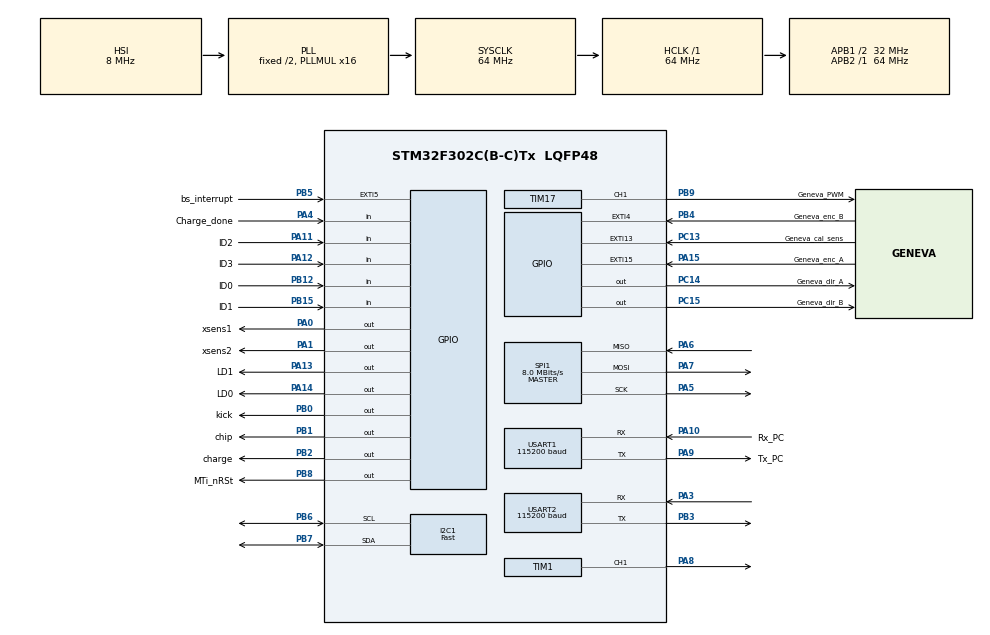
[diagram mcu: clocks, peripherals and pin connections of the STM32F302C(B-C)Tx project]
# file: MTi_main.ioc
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I2C1.I2C_Speed_Mode=I2C_Fast
Mcu.Family=STM32F3
Mcu.Name=STM32F302C(B-C)Tx
Mcu.Package=LQFP48
NVIC.I2C1_ER_IRQn=true\:0\:0\:false\:false\:true\:true
NVIC.I2C1_EV_IRQn=true\:0\:0\:false\:false\:true\:true
NVIC.PriorityGroup=NVIC_PRIORITYGROUP_4
NVIC.TIM6_DAC_IRQn=true\:0\:0\:false\:false\:true\:true
NVIC.USART1_IRQn=true\:0\:0\:false\:false\:true\:true
NVIC.USART2_IRQn=true\:0\:0\:false\:false\:true\:true
PA0.GPIO_Label=xsens1
PA0.Signal=GPIO_Output
PA1.GPIO_Label=xsens2
PA1.Signal=GPIO_Output
PA10.GPIO_Label=Rx_PC
PA10.Mode=Asynchronous
PA10.Signal=USART1_RX
PA11.GPIO_Label=ID2
PA11.Signal=GPIO_Input
PA12.GPIO_Label=ID3
PA12.Signal=GPIO_Input
PA13.GPIO_Label=LD1
PA13.Signal=GPIO_Output
PA14.GPIO_Label=LD0
PA14.Signal=GPIO_Output
PA15.GPIO_Label=Geneva_enc_A
PA15.Signal=GPXTI15
PA3.Mode=Asynchronous
PA3.Signal=USART2_RX
PA4.GPIO_Label=Charge_done
PA4.Signal=GPIO_Input
PA5.Mode=Full_Duplex_Master
PA5.Signal=SPI1_SCK
PA6.Mode=Full_Duplex_Master
PA6.Signal=SPI1_MISO
PA7.Mode=Full_Duplex_Master
PA7.Signal=SPI1_MOSI
PA8.Signal=S_TIM1_CH1
PA9.GPIO_Label=Tx_PC
PA9.Mode=Asynchronous
PA9.Signal=USART1_TX
PB0.GPIO_Label=kick
PB0.Signal=GPIO_Output
PB1.GPIO_Label=chip
PB1.Signal=GPIO_Output
PB12.GPIO_Label=ID0
PB12.Signal=GPIO_Input
PB15.GPIO_Label=ID1
PB15.Signal=GPIO_Input
PB2.GPIO_Label=charge
PB2.Signal=GPIO_Output
PB3.Mode=Asynchronous
PB3.Signal=USART2_TX
PB4.GPIO_Label=Geneva_enc_B
PB4.Signal=GPXTI4
PB5.GPIO_Label=bs_interrupt
PB5.Signal=GPXTI5
PB6.Mode=I2C
PB6.Signal=I2C1_SCL
PB7.Mode=I2C
PB7.Signal=I2C1_SDA
PB8.GPIO_Label=MTi_nRSt
PB8.GPIO_ModeDefaultOutputPP=GPIO_MODE_OUTPUT_OD
PB8.Signal=GPIO_Output
PB9.GPIO_Label=Geneva_PWM
PB9.Signal=S_TIM17_CH1
PC13.GPIO_Label=Geneva_cal_sens
PC13.Signal=GPXTI13
PC14-OSC32_IN.GPIO_Label=Geneva_dir_A
PC14-OSC32_IN.Signal=GPIO_Output
PC15-OSC32_OUT.GPIO_Label=Geneva_dir_B
PC15-OSC32_OUT.Signal=GPIO_Output
ProjectManager.HeapSize=0x200
ProjectManager.StackSize=0x400
ProjectManager.TargetToolchain=SW4STM32
RCC.AHBFreq_Value=64000000
RCC.APB1CLKDivider=RCC_HCLK_DIV2
RCC.APB1Freq_Value=32000000
RCC.APB1TimFreq_Value=64000000
RCC.APB2Freq_Value=64000000
RCC.APB2TimFreq_Value=64000000
RCC.CortexFreq_Value=64000000
RCC.FLatency=FLASH_LATENCY_2
RCC.HCLKFreq_Value=64000000
RCC.HSE_Timout=1000
RCC.HSE_VALUE=8000000
RCC.HSI_VALUE=8000000
RCC.LSE_VALUE=32768
RCC.PLLMUL=RCC_PLL_MUL16
RCC.SYSCLKFreq_VALUE=64000000
RCC.SYSCLKSourceVirtual=RCC_SYSCLKSOURCE_PLLCLK
RCC.USBFreq_Value=64000000
SH.S_TIM17_CH1.0=TIM17_CH1,PWM Generation1 CH1
SH.S_TIM1_CH1.0=TIM1_CH1,PWM Generation1 CH1
SPI1.BaudRatePrescaler=SPI_BAUDRATEPRESCALER_8
SPI1.CalculateBaudRate=8.0 MBits/s
SPI1.DataSize=SPI_DATASIZE_8BIT
SPI1.Direction=SPI_DIRECTION_2LINES
SPI1.Mode=SPI_MODE_MASTER
SPI1.VirtualType=VM_MASTER
TIM1.Channel-PWM\ Generation1\ CH1=TIM_CHANNEL_1
TIM1.Period=2400
TIM17.Channel=TIM_CHANNEL_1
TIM17.Period=2400
TIM6.Period=10000
TIM6.Prescaler=63
USART1.BaudRate=115200
USART1.SwapParam=ADVFEATURE_SWAP_ENABLE
USART1.VirtualMode-Asynchronous=VM_ASYNC
USART2.BaudRate=115200
USART2.SwapParam=ADVFEATURE_SWAP_ENABLE
USART2.VirtualMode-Asynchronous=VM_ASYNC
VP_TIM17_VS_ClockSourceINT.Mode=Enable_Timer
VP_TIM6_VS_ClockSourceINT.Mode=Enable_Timer
board=MTi_main

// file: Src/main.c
/**
  ******************************************************************************
  * @file           : main.c
  * @brief          : Main program body
  ******************************************************************************
  ** This notice applies to any and all portions of this file
  * that are not between comment pairs USER CODE BEGIN and
  * USER CODE END. Other portions of this file, whether
  * inserted by the user or by software development tools
  * are owned by their respective copyright owners.
  *
  * COPYRIGHT(c) 2018 STMicroelectronics
  *
  * Redistribution and use in source and binary forms, with or without modification,
  * are permitted provided that the following conditions are met:
  *   1. Redistributions of source code must retain the above copyright notice,
  *      this list of conditions and the following disclaimer.
  *   2. Redistributions in binary form must reproduce the above copyright notice,
  *      this list of conditions and the following disclaimer in the documentation
  *      and/or other materials provided with the distribution.
  *   3. Neither the name of STMicroelectronics nor the names of its contributors
  *      may be used to endorse or promote products derived from this software
  *      without specific prior written permission.
  *
  * THIS SOFTWARE IS PROVIDED BY THE COPYRIGHT HOLDERS AND CONTRIBUTORS "AS IS"
  * AND ANY EXPRESS OR IMPLIED WARRANTIES, INCLUDING, BUT NOT LIMITED TO, THE
  * IMPLIED WARRANTIES OF MERCHANTABILITY AND FITNESS FOR A PARTICULAR PURPOSE ARE
  * DISCLAIMED. IN NO EVENT SHALL THE COPYRIGHT HOLDER OR CONTRIBUTORS BE LIABLE
  * FOR ANY DIRECT, INDIRECT, INCIDENTAL, SPECIAL, EXEMPLARY, OR CONSEQUENTIAL
  * DAMAGES (INCLUDING, BUT NOT LIMITED TO, PROCUREMENT OF SUBSTITUTE GOODS OR
  * SERVICES; LOSS OF USE, DATA, OR PROFITS; OR BUSINESS INTERRUPTION) HOWEVER
  * CAUSED AND ON ANY THEORY OF LIABILITY, WHETHER IN CONTRACT, STRICT LIABILITY,
  * OR TORT (INCLUDING NEGLIGENCE OR OTHERWISE) ARISING IN ANY WAY OUT OF THE USE
  * OF THIS SOFTWARE, EVEN IF ADVISED OF THE POSSIBILITY OF SUCH DAMAGE.
  *
  ******************************************************************************
  */
#include "main.h"
#include "stm32f3xx_hal.h"
#include "i2c.h"
#include "spi.h"
#include "tim.h"
#include "usart.h"
#include "gpio.h"

/* USER CODE BEGIN Includes */

#include "PuttyInterface/PuttyInterface.h"
#include "MTiControl.h"
#include <string.h>
#include <math.h>
/* USER CODE END Includes */

/* USER CODE BEGIN PV */
/* Private variables ---------------------------------------------------------*/
PuttyInterfaceTypeDef puttystruct;

#define DEBUG 					0
#define MAX_RAW_MESSAGE_SIZE 	2055

/* Buffer used for reception */

uint8_t stop_after_message_complete = 1;
uint8_t message_handled_flag = 0;
float speed_x, speed_y;
/* USER CODE END PV */

void SystemClock_Config(void);

/* USER CODE BEGIN PFP */
/* Private function prototypes -----------------------------------------------*/
void MTiPrintOutputConfig(struct XbusMessage const* message);
void MTiErrorHandler(struct XbusMessage const* message);
void printMessageData(struct XbusMessage const* message);
void PrintUsartStatus(HAL_StatusTypeDef status);
void HandleCommand(char * input);
void SendPossibleCommands();
void HandleMessage();
float calculateSpeed(float acc_x, float acc_y, float acc_z, int freq);
/* USER CODE END PFP */

int main(void)
{

  /* MCU Configuration----------------------------------------------------------*/

  /* Reset of all peripherals, Initializes the Flash interface and the Systick. */
  HAL_Init();

  /* Configure the system clock */
  SystemClock_Config();

  /* Initialize all configured peripherals */
  MX_GPIO_Init();
  MX_USART1_UART_Init();
  MX_TIM1_Init();
  MX_SPI1_Init();
  MX_USART2_UART_Init();
  MX_TIM17_Init();
  MX_TIM6_Init();
  MX_I2C1_Init();
  /* USER CODE BEGIN 2 */
	MTi_Init();
	speed_x = 0;
	speed_y = 0;

	puttystruct.handle = HandleCommand;
	PuttyInterface_Init(&puttystruct);
	SendPossibleCommands();
  /* USER CODE END 2 */

  /* Infinite loop */
  /* USER CODE BEGIN WHILE */
  while (1)
  {

		if(cplt_mess_stored_flag){
			cplt_mess_stored_flag = 0;
			if(DEBUG) TextOut("cplt_mess_stored_flag\n\r");
			HandleMessage();
			if(!stop_after_message_complete){
				message_handled_flag = 0;
				ReadNewMessage(0);
			}
		}

		CheckWhatNeedsToBeDone();
  /* USER CODE END WHILE */

  /* USER CODE BEGIN 3 */
		PuttyInterface_Update(&puttystruct);
  }
  /* USER CODE END 3 */

}

void SystemClock_Config(void)
{

  RCC_OscInitTypeDef RCC_OscInitStruct;
  RCC_ClkInitTypeDef RCC_ClkInitStruct;
  RCC_PeriphCLKInitTypeDef PeriphClkInit;

    /**Initializes the CPU, AHB and APB busses clocks
    */
  RCC_OscInitStruct.OscillatorType = RCC_OSCILLATORTYPE_HSI;
  RCC_OscInitStruct.HSIState = RCC_HSI_ON;
  RCC_OscInitStruct.HSICalibrationValue = 16;
  RCC_OscInitStruct.PLL.PLLState = RCC_PLL_ON;
  RCC_OscInitStruct.PLL.PLLSource = RCC_PLLSOURCE_HSI;
  RCC_OscInitStruct.PLL.PLLMUL = RCC_PLL_MUL16;
  if (HAL_RCC_OscConfig(&RCC_OscInitStruct) != HAL_OK)
  {
    _Error_Handler(__FILE__, __LINE__);
  }

    /**Initializes the CPU, AHB and APB busses clocks
    */
  RCC_ClkInitStruct.ClockType = RCC_CLOCKTYPE_HCLK|RCC_CLOCKTYPE_SYSCLK
                              |RCC_CLOCKTYPE_PCLK1|RCC_CLOCKTYPE_PCLK2;
  RCC_ClkInitStruct.SYSCLKSource = RCC_SYSCLKSOURCE_PLLCLK;
  RCC_ClkInitStruct.AHBCLKDivider = RCC_SYSCLK_DIV1;
  RCC_ClkInitStruct.APB1CLKDivider = RCC_HCLK_DIV2;
  RCC_ClkInitStruct.APB2CLKDivider = RCC_HCLK_DIV1;

  if (HAL_RCC_ClockConfig(&RCC_ClkInitStruct, FLASH_LATENCY_2) != HAL_OK)
  {
    _Error_Handler(__FILE__, __LINE__);
  }

  PeriphClkInit.PeriphClockSelection = RCC_PERIPHCLK_USART1|RCC_PERIPHCLK_USART2
                              |RCC_PERIPHCLK_I2C1|RCC_PERIPHCLK_TIM1;
  PeriphClkInit.Usart1ClockSelection = RCC_USART1CLKSOURCE_PCLK2;
  PeriphClkInit.Usart2ClockSelection = RCC_USART2CLKSOURCE_PCLK1;
  PeriphClkInit.I2c1ClockSelection = RCC_I2C1CLKSOURCE_HSI;
  PeriphClkInit.Tim1ClockSelection = RCC_TIM1CLK_HCLK;
  if (HAL_RCCEx_PeriphCLKConfig(&PeriphClkInit) != HAL_OK)
  {
    _Error_Handler(__FILE__, __LINE__);
  }

    /**Configure the Systick interrupt time
    */
  HAL_SYSTICK_Config(HAL_RCC_GetHCLKFreq()/1000);

    /**Configure the Systick
    */
  HAL_SYSTICK_CLKSourceConfig(SYSTICK_CLKSOURCE_HCLK);

  /* SysTick_IRQn interrupt configuration */
  HAL_NVIC_SetPriority(SysTick_IRQn, 0, 0);
}

/* USER CODE BEGIN 4 */
// Callback is called when the HAL_Uart application is finished transmitting its bytes
void HAL_UART_TxCpltCallback(UART_HandleTypeDef *huart){
	if(huart->Instance == huart1.Instance){

	}else if(huart->Instance == huart2.Instance){
		MT_TxCallback();
	}
}
// Callback is called when the HAL_Uart received its wanted amount of bytes
void HAL_UART_RxCpltCallback(UART_HandleTypeDef *huart){
	if(huart->Instance == huart1.Instance){
		puttystruct.huart2_Rx_len = 1;
		puttystruct.small_buf[0] = *(huart->pRxBuffPtr-1);
	}else if(huart->Instance == huart2.Instance){
		MT_RxCallback();
	}
}

void HandleCommand(char * input){
	if(strcmp(input, "start") == 0){
		TextOut("Starting device MTi\n\r");
		HAL_GPIO_WritePin(MTi_nRSt_GPIO_Port, MTi_nRSt_Pin, 1);
		if(WaitForAck(XMID_WakeUp)){
			SendWakeUpAck();
			TextOut("Communication with MTi started, in config state.\n\r");
		}else{
			TextOut("No communication with MTi!\n\r");
		}
	}
	if(strcmp(input, "start2") == 0){
		TextOut("Starting device MTi\n\r");
		HAL_GPIO_WritePin(MTi_nRSt_GPIO_Port, MTi_nRSt_Pin, 1);
		if(WaitForAck(XMID_WakeUp)){
			TextOut("Communication with MTi started, going to measure state in .5 seconds.\n\r");
		}else{
			TextOut("No communication with MTi!\n\r");
		}
	}else if(strcmp(input, "config") == 0){
		struct XbusMessage mess = { .mid = XMID_GoToConfig,
									.data = NULL,
									.length = 0};

		uint8_t cnt = 0;
		while(!WaitForAck(XMID_GoToConfigAck) && cnt < 20 ){
			SendXbusMessage(mess);
			cnt++;
		}
		if(cnt < 20){
			TextOut("In config state.\n\r");
		}else{
			TextOut("No GoToConfigAck received.\n\r");
		}
	}else if(strcmp(input, "measure") == 0){
		struct XbusMessage mess = { .mid = XMID_GoToMeasurement,
									.data = NULL,
									.length = 0};
		SendXbusMessage(mess);
		if(WaitForAck(XMID_GoToMeasurementAck)){
			TextOut("In measurement state.\n\r");
		}else{
			TextOut("No GoToMeasurementAck received.\n\r");
		}

	}else if(strcmp(input, "reqdata") == 0){
		TextOut("Sending request data message.\n\r");
		struct XbusMessage mess = { .mid = XMID_ReqData,
									.length = 0,
									.data = NULL};
		SendXbusMessage(mess);
		ReadNewMessage(0);
	}else if(strcmp(input, "help") == 0){
		SendPossibleCommands();
	}else if(strcmp(input, "factoryreset\n") == 0){
		TextOut("Resetting the configuration.\n\r");
		struct XbusMessage mess = { .mid = XMID_RestoreFactoryDef,
									.length = 0,
									.data = NULL};
		SendXbusMessage(mess);
	}else if(strcmp(input, "selftest") == 0){
		TextOut("Running self test of MTi.\n\r");
		struct XbusMessage mess = { .mid = XMID_RunSelftest,
									.length = 0,
									.data = NULL};
		SendXbusMessage(mess);
	}else if(strcmp(input, "setoutputperiod") == 0){
		TextOut("setting outputconfig.\n\r");
		uint16_t data = 0x012C;// 300 Hz
		struct XbusMessage mess = { .mid = XMID_SetPeriod,
									.data = &data,
									.length = 0};
		SendXbusMessage(mess);
	}else if(memcmp(input, "enterdata", strlen("enterdata")) == 0){
		TextOut("Creating a message manually.\n\r");
		struct XbusMessage mess;
		mess.mid = XMID_SetOutputConfiguration;

		uint8_t data[64];
		uint8_t * dptr = data;
		int holder[2];
		sscanf(input, "enterdata%04x%04x", &holder[0], &holder[1] );
		dptr = XbusUtility_writeU16(dptr, holder[0]);
		dptr = XbusUtility_writeU16(dptr, holder[1]);
		mess.data = data;
		if(DEBUG){
			uprintf( "\n[%02x %02x %02x %02x]\n\n", data[0], data[1], data[2], data[3]);

		}
		SendXbusMessage(mess);
	}else if(memcmp(input, "setconfig", strlen("setconfig")) == 0){
		uint8_t n_configs = 2;
		uint16_t frequency = 60;
		TextOut("Setting the preset configuration.\n\r");
		struct OutputConfiguration config[n_configs];
		config[0].dtype = XDI_PacketCounter;
		config[0].freq =  frequency;
		config[1].dtype = XDI_Acceleration;
		config[1].freq =  frequency;
		struct XbusMessage mess;
		mess.mid = XMID_SetOutputConfiguration;
		mess.length = n_configs;
		mess.data = &config;
		uint16_t* mdptr = mess.data;
		if(DEBUG){
			uprintf( "[%x %x] [%x %x] [%x %x]\n", *mdptr++, *mdptr++, *mdptr++, *mdptr++, *mdptr++, *mdptr++);

		}
		SendXbusMessage(mess);
		ReadNewMessage(0);
	}else if(strcmp(input, "receive") == 0){
		TextOut("receiving a message in interrupt mode\n\r");
		ReadNewMessage(0);

	}else if(strcmp(input, "reqconfig\n") == 0){
		TextOut("requesting output configuration mode\n\r");
		struct XbusMessage mess = { .mid = XMID_ReqOutputConfiguration,
									.data = NULL,
									.length = 0};
		SendXbusMessage(mess);
		ReadNewMessage(0);
	}else if(strcmp(input, "reset") == 0){
		MtiReset();
	}else if(strcmp(input, "abort") == 0){
		CancelMtiOperation();
	}else if(strcmp(input, "readcontinue") == 0){
		TextOut("Reading continuously till readstop command\n\r");
		stop_after_message_complete = 0;
		ReadNewMessage(0);
	}else if(strcmp(input, "readstop") == 0){
		stop_after_message_complete = 1;
	}else if(strcmp(input, "temp\n") == 0){
		TextOut("temporary message holder.");
		uint8_t data[] = {0x40, 0x20,0x01, 0x80, 0x80, 0x20,0x01, 0x80};
		struct XbusMessage mess = {
				.mid = XMID_SetOutputConfiguration,
				.data = data,
				.length = sizeof(data)};
		SendXbusMessage(mess);
	}
}
// inform the user about possible commands (probably not up to date)
void SendPossibleCommands(){
	TextOut("--------------------------------------------------------------------------------\n\r");
	TextOut("These are possible input commands:\n\r");
	TextOut("\n\r");
	TextOut("'help'   			: Get this information again\n\r");
	TextOut("'start'  			: Get the device out of reset mode and into configuration mode.\n\r");
	TextOut("'start2' 			: Get the device out of reset mode and into measure mode.\n\r");
	TextOut("'config' 			: Go to configuration state.\n\r");
	TextOut("'measure'			: Go to Measurement state.\n\r");
	TextOut("'receive'			: start receiving.\n\r");
	TextOut("'readcontinue'		: Gather data continuously.\n\r");
	TextOut("'readstop'			: Stop gathering data continuously.\n\r");
	TextOut("'reqconfig'		: Request the current config.\n\r");
	TextOut("'enterdata' 		: T. B. A.\n\r");
	TextOut("'setoutputconfig'	: Set the output config to the standard.\n\r");
	TextOut("'setoutputperiod'	: [deprecated]Set Output Period to 300 Hz.\n\r");
	TextOut("'factoryreset'  	: Reset the factory settings.\n\r");
	TextOut("'selftest'  		: Test how the MTi thinks it's doing.\n\r");
	TextOut("'reset'  			: Restart the device.\n\r");
	TextOut("'abort'  			: Abort all communication with the MTi device and restart it.\n\r");
	TextOut("--------------------------------------------------------------------------------\n\r");
}

void HandleMessage(){
	if(ReceivedMessageStorage->mid == XMID_Error){
		MTiErrorHandler(ReceivedMessageStorage);
	}else if(ReceivedMessageStorage->mid == XMID_MTData2){
		printMessageData(ReceivedMessageStorage);
	}else if(ReceivedMessageStorage->mid == XMID_ReqOutputConfigurationAck){
		MTiPrintOutputConfig(ReceivedMessageStorage);
	}
	message_handled_flag = 1;
	DeallocateMem();
}
void MTiPrintOutputConfig(struct XbusMessage const* message){
	if (!message)
		return;
	uprintf("MTiPrintOutputConfig:\n");

	uint8_t* rawptr = message->data;
	uint16_t fptr[message->length];
	uprintf( "len = [%u]", message->length);

	for(uint16_t * i = fptr; i < fptr + (message->length)/2; i++){
		rawptr = XbusUtility_readU16(i, rawptr);
		uprintf( "[%04x]", *i);

	}
	uprintf( "\n\r");

	uint16_t freq;
	if(0 != (freq = XbusMessage_getOutputFreq(XDI_Temperature, message))){
		uprintf("XDI_Temperature:%u\n", freq);

	}
	if(0 != (freq = XbusMessage_getOutputFreq(XDI_UtcTime, message))){
		uprintf("XDI_UtcTime:%u\n", freq);

	}
	if(0 != (freq = XbusMessage_getOutputFreq(XDI_PacketCounter, message))){
		uprintf("XDI_PacketCounter:%u\n", freq);

	}
	if(0 != (freq = XbusMessage_getOutputFreq(XDI_SampleTimeFine, message))){
		uprintf("XDI_SampleTimeFine:%u\n", freq);

	}
	if(0 != (freq = XbusMessage_getOutputFreq(XDI_SampleTimeCoarse, message))){
		uprintf("XDI_SampleTimeCoarse:%u\n", freq);

	}
	if(0 != (freq = XbusMessage_getOutputFreq(XDI_Quaternion, message))){
		uprintf("XDI_Quaternion:%u\n", freq);

	}
	if(0 != (freq = XbusMessage_getOutputFreq(XDI_RotationMatrix, message))){
		uprintf("XDI_RotationMatrix:%u\n", freq);

	}
	if(0 != (freq = XbusMessage_getOutputFreq(XDI_EulerAngles, message))){
		uprintf("XDI_EulerAngles:%u\n", freq);

	}
	if(0 != (freq = XbusMessage_getOutputFreq(XDI_DeltaV, message))){
		uprintf("XDI_DeltaV:%u\n", freq);

	}
	if(0 != (freq = XbusMessage_getOutputFreq(XDI_Acceleration, message))){
		uprintf("XDI_Acceleration:%x\n", freq);

	}
	if(0 != (freq = XbusMessage_getOutputFreq(XDI_FreeAcceleration, message))){
			uprintf("XDI_FreeAcceleration:%u\n", freq);

	}
	if(0 != (freq = XbusMessage_getOutputFreq(XDI_AccelerationHR, message))){
		uprintf("XDI_AccelerationHR:%u\n", freq);

	}
	if(0 != (freq = XbusMessage_getOutputFreq(XDI_RateOfTurn, message))){
		uprintf("XDI_RateOfTurn:%u\n", freq);

	}
	if(0 != (freq = XbusMessage_getOutputFreq(XDI_DeltaQ, message))){
		uprintf("XDI_DeltaQ:%u\n", freq);

	}
	if(0 != (freq = XbusMessage_getOutputFreq(XDI_RateOfTurnHR, message))){
		uprintf("XDI_RateOfTurnHR:%u\n", freq);

	}
	if(0 != (freq = XbusMessage_getOutputFreq(XDI_MagneticField, message))){
		uprintf("XDI_MagneticField:%u\n", freq);

	}
	if(0 != (freq = XbusMessage_getOutputFreq(XDI_StatusByte, message))){
		uprintf("XDI_StatusByte:%u\n", freq);

	}
	if(0 != (freq = XbusMessage_getOutputFreq(XDI_StatusWord, message))){
		uprintf("XDI_StatusWord:%u\n", freq);

	}
}
void MTiErrorHandler(struct XbusMessage const* message){
	if (!message)
		return;
	uprintf("ERROR: %02x\n", *(uint8_t *)(message->data));

}

void printMessageData(struct XbusMessage const* message){
	if (!message)
		return;
	uprintf("MTData2:");

	uint16_t counter;
	if (XbusMessage_getDataItem(&counter, XDI_PacketCounter, message))
	{
		uprintf( " Packet counter: %5d", counter);

	}
	uint32_t SampleTimeFine;
	if (XbusMessage_getDataItem(&SampleTimeFine, XDI_SampleTimeFine, message))
	{
		uprintf( " SampleTimeFine: %lu", SampleTimeFine);

	}
	float ori[4];
	if (XbusMessage_getDataItem(ori, XDI_Quaternion, message))
	{
		uprintf( " Orientation: (%.3f, %.3f, %.3f, %.3f)", ori[0], ori[1],
				ori[2], ori[3]);

	}
	float angles[3];
	if (XbusMessage_getDataItem(angles, XDI_EulerAngles, message))
	{
		uprintf( " EulerAngles: (%.3f, %.3f, %.3f)", angles[0], angles[1], angles[2]);

	}
	float delta_v[3];
	if (XbusMessage_getDataItem(delta_v, XDI_DeltaV, message))
	{
		uprintf( " deltaV: (%.3f, %.3f, %.3f)", delta_v[0], delta_v[1], delta_v[2]);

	}
	float acc[3];
	if (XbusMessage_getDataItem(acc, XDI_Acceleration, message))
	{
		uprintf( " Acceleration: (%.3f, %.3f, %.3f)", acc[0], acc[1], acc[2]);

		uprintf( "current speed = [%f].\n", calculateSpeed(acc[0], acc[1],acc[2], 100));

	}
	float gyr[3];
	if (XbusMessage_getDataItem(gyr, XDI_RateOfTurn, message))
	{
		uprintf( " Rate Of Turn: (%.3f, %.3f, %.3f)", gyr[0], gyr[1], gyr[2]);

	}
	float delta_q[4];
	if (XbusMessage_getDataItem(delta_q, XDI_Quaternion, message))
	{
		uprintf( " deltaQ: (%.3f, %.3f, %.3f, %.3f)", delta_q[0], delta_q[1],
				delta_q[2], delta_q[3]);

	}
	float mag[3];
	if (XbusMessage_getDataItem(mag, XDI_MagneticField, message))
	{
		uprintf( " Magnetic Field: (%.3f, %.3f, %.3f)", mag[0], mag[1], mag[2]);

	}
	uint32_t status;
	if (XbusMessage_getDataItem(&status, XDI_StatusWord, message))
	{
		uprintf( " Status:%lX", status);

	}
	TextOut(" \n\r");
}

void PrintUsartStatus(HAL_StatusTypeDef status){
	if(DEBUG){
		switch(status){
			case HAL_OK:// no problem
				//TextOut("HAL_OK\n\r");
				break;
			case HAL_BUSY:
				TextOut("HAL_BUSY\n\r");
				break;
			case HAL_ERROR:
				TextOut("HAL_ERROR\n\r");
				break;
			case HAL_TIMEOUT:
				TextOut("HAL_TIMEOUT\n\r");
				break;
			default:
				TextOut("Unknown HAL_StatusTypeDef\n\r");
				break;
		}
	}
}

float calculateSpeed(float acc_x, float acc_y, float acc_z, int freq)
{
    float dt = 1/freq;
    speed_x += acc_x + dt;
    speed_y += acc_y + dt;
    float speed_total = sqrt(speed_x*speed_x + speed_y*speed_y);
    return speed_total;
}
/* USER CODE END 4 */

void _Error_Handler(char *file, int line)
{
  while(1)
  {
  }
}

/************************ (C) COPYRIGHT STMicroelectronics *****END OF FILE****/
